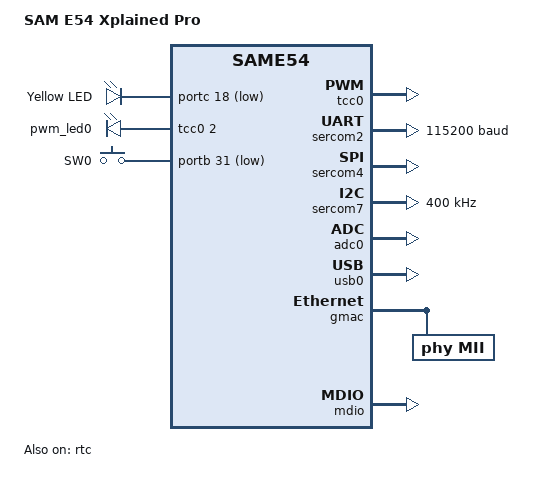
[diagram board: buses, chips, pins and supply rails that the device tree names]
/*
 * Copyright (c) 2019 Benjamin Valentin
 *
 * SPDX-License-Identifier: Apache-2.0
 */

/dts-v1/;
#include <atmel/same5xx20.dtsi>

/ {
	model = "SAM E54 Xplained Pro";
	compatible = "atsame54,xpro", "atmel,same54p20a", "atmel,same54";

	chosen {
		zephyr,console = &sercom2;
		zephyr,shell-uart = &sercom2;
		zephyr,sram = &sram0;
		zephyr,flash = &flash0;
	};

	/* These aliases are provided for compatibility with samples */
	aliases {
		led0 = &led0;
		pwm-led0 = &pwm_led0;
		sw0 = &button0;
		i2c-0 = &sercom7;
	};

	leds {
		compatible = "gpio-leds";
		led0: led_0 {
			gpios = <&portc 18 GPIO_ACTIVE_LOW>;
			label = "Yellow LED";
		};
	};

	pwmleds {
		compatible = "pwm-leds";
		pwm_led0: pwm_led_0 {
			pwms = <&tcc0 2>;
		};
	};

	buttons {
		compatible = "gpio-keys";
		button0: button_0 {
			gpios = <&portb 31 (GPIO_PULL_UP | GPIO_ACTIVE_LOW)>;
			label = "SW0";
		};
	};
};

&tcc0 {
	status = "okay";
	compatible = "atmel,sam0-tcc-pwm";
	/* Gives a maximum period of 1.1s for 120MHz main clock */
	prescaler = <8>;
	#pwm-cells = <1>;
};

&sercom2 {
	status = "okay";
	compatible = "atmel,sam0-uart";
	current-speed = <115200>;
	rxpo = <1>;
	txpo = <0>;
	#address-cells = <1>;
	#size-cells = <0>;
};

&sercom4 {
	status = "okay";
	compatible = "atmel,sam0-spi";
	dipo = <3>;
	dopo = <0>;
	label = "SPI_0";
	#address-cells = <1>;
	#size-cells = <0>;
};

&sercom7 {
	status = "okay";
	compatible = "atmel,sam0-i2c";
	clock-frequency = <I2C_BITRATE_FAST>;
	label = "I2C_0";
	#address-cells = <1>;
	#size-cells = <0>;
};

&adc0 {
	status = "okay";
};

&rtc {
	status = "okay";
};

&usb0 {
	status = "okay";
};

&gmac {
	status = "okay";
	zephyr,random-mac-address;

	phy: phy {
		compatible = "phy,mii";
		status = "okay";
		address = <0>;
		mdio = <&mdio>;
	};
};

&mdio {
	status = "okay";
};
